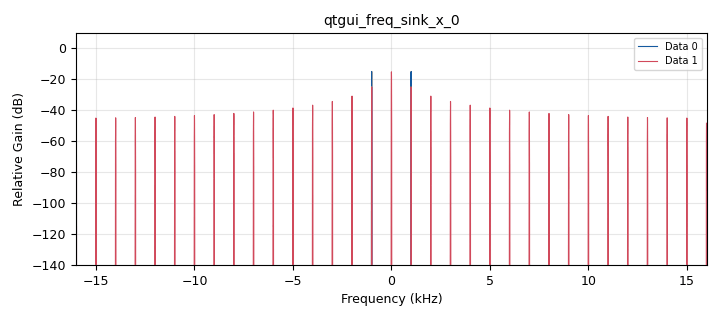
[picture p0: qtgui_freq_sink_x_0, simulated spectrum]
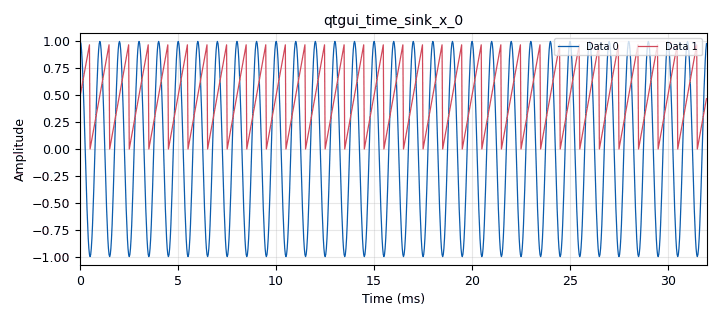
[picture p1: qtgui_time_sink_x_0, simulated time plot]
<?xml version='1.0' encoding='utf-8'?>
<?grc format='1' created='3.7.11'?>
<flow_graph>
<block>
<key>options</key>
<param><key>id</key><value>top_block</value></param>
<param><key>author</key><value>Maurice Woods</value></param>
<param><key>generate_options</key><value>qt_gui</value></param>
<param><key>title</key><value>Lab 03</value></param>
</block>
<block>
<key>variable_qtgui_range</key>
<param><key>id</key><value>f0</value></param>
<param><key>value</key><value>1000</value></param>
<param><key>gui_hint</key><value>1,1,1,1</value></param>
<param><key>orient</key><value>Qt.Horizontal</value></param>
<param><key>start</key><value>-5000</value></param>
<param><key>step</key><value>1</value></param>
<param><key>stop</key><value>5000</value></param>
</block>
<block>
<key>variable_qtgui_range</key>
<param><key>id</key><value>offset</value></param>
<param><key>value</key><value>0</value></param>
<param><key>gui_hint</key><value>0,1,1,1</value></param>
<param><key>orient</key><value>Qt.Horizontal</value></param>
<param><key>start</key><value>-1</value></param>
<param><key>step</key><value>0.01</value></param>
<param><key>stop</key><value>1</value></param>
</block>
<block>
<key>variable</key>
<param><key>id</key><value>samp_rate</value></param>
<param><key>value</key><value>32000</value></param>
</block>
<block>
<key>variable_qtgui_chooser</key>
<param><key>id</key><value>waveform1</value></param>
<param><key>value</key><value>102</value></param>
<param><key>gui_hint</key><value>0,0,2,1</value></param>
<param><key>label0</key><value>Cosine</value></param>
<param><key>label1</key><value>Rectangular</value></param>
<param><key>label2</key><value>Triangular</value></param>
<param><key>num_opts</key><value>3</value></param>
<param><key>option0</key><value>102</value></param>
<param><key>option1</key><value>103</value></param>
<param><key>option2</key><value>104</value></param>
<param><key>orient</key><value>Qt.QHBoxLayout</value></param>
<param><key>type</key><value>int</value></param>
<param><key>widget</key><value>radio_buttons</value></param>
</block>
<block>
<key>analog_sig_source_x</key>
<param><key>id</key><value>analog_sig_source_x_0</value></param>
<param><key>amp</key><value>1</value></param>
<param><key>freq</key><value>f0</value></param>
<param><key>offset</key><value>offset</value></param>
<param><key>type</key><value>float</value></param>
<param><key>samp_rate</key><value>samp_rate</value></param>
<param><key>waveform</key><value>waveform1</value></param>
</block>
<block>
<key>analog_sig_source_x</key>
<param><key>id</key><value>analog_sig_source_x_0_0</value></param>
<param><key>amp</key><value>1</value></param>
<param><key>freq</key><value>f0</value></param>
<param><key>offset</key><value>offset</value></param>
<param><key>type</key><value>float</value></param>
<param><key>samp_rate</key><value>samp_rate</value></param>
<param><key>waveform</key><value>analog.GR_SAW_WAVE</value></param>
</block>
<block>
<key>blocks_throttle</key>
<param><key>id</key><value>blocks_throttle_0</value></param>
<param><key>samples_per_second</key><value>samp_rate</value></param>
<param><key>type</key><value>float</value></param>
</block>
<block>
<key>blocks_throttle</key>
<param><key>id</key><value>blocks_throttle_0_0</value></param>
<param><key>samples_per_second</key><value>samp_rate</value></param>
<param><key>type</key><value>float</value></param>
</block>
<block>
<key>qtgui_freq_sink_x</key>
<param><key>id</key><value>qtgui_freq_sink_x_0</value></param>
<param><key>bw</key><value>samp_rate</value></param>
<param><key>fc</key><value>0</value></param>
<param><key>fftsize</key><value>8192</value></param>
<param><key>gui_hint</key><value>2,1,1,1</value></param>
<param><key>grid</key><value>True</value></param>
<param><key>label2</key><value></value></param>
<param><key>nconnections</key><value>2</value></param>
<param><key>showports</key><value>True</value></param>
<param><key>type</key><value>float</value></param>
<param><key>wintype</key><value>firdes.WIN_BLACKMAN_hARRIS</value></param>
</block>
<block>
<key>qtgui_time_sink_x</key>
<param><key>id</key><value>qtgui_time_sink_x_0</value></param>
<param><key>entags</key><value>False</value></param>
<param><key>gui_hint</key><value>2,0,1,1</value></param>
<param><key>grid</key><value>True</value></param>
<param><key>color1</key><value>"blue"</value></param>
<param><key>label1</key><value></value></param>
<param><key>color2</key><value>"red"</value></param>
<param><key>label2</key><value></value></param>
<param><key>nconnections</key><value>2</value></param>
<param><key>size</key><value>1024</value></param>
<param><key>srate</key><value>samp_rate</value></param>
<param><key>type</key><value>float</value></param>
</block>
<connection><source_block_id>analog_sig_source_x_0</source_block_id><sink_block_id>blocks_throttle_0</sink_block_id><source_key>0</source_key><sink_key>0</sink_key></connection>
<connection><source_block_id>analog_sig_source_x_0_0</source_block_id><sink_block_id>blocks_throttle_0_0</sink_block_id><source_key>0</source_key><sink_key>0</sink_key></connection>
<connection><source_block_id>blocks_throttle_0</source_block_id><sink_block_id>qtgui_freq_sink_x_0</sink_block_id><source_key>0</source_key><sink_key>0</sink_key></connection>
<connection><source_block_id>blocks_throttle_0</source_block_id><sink_block_id>qtgui_time_sink_x_0</sink_block_id><source_key>0</source_key><sink_key>0</sink_key></connection>
<connection><source_block_id>blocks_throttle_0_0</source_block_id><sink_block_id>qtgui_freq_sink_x_0</sink_block_id><source_key>0</source_key><sink_key>1</sink_key></connection>
<connection><source_block_id>blocks_throttle_0_0</source_block_id><sink_block_id>qtgui_time_sink_x_0</sink_block_id><source_key>0</source_key><sink_key>1</sink_key></connection>
</flow_graph>
